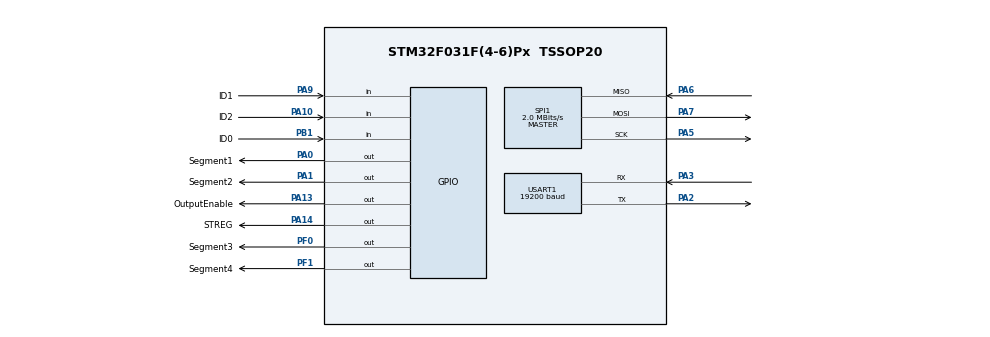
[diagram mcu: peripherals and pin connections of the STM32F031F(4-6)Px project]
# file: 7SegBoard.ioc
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Mcu.Family=STM32F0
Mcu.Name=STM32F031F(4-6)Px
Mcu.Package=TSSOP20
NVIC.TIM14_IRQn=true\:0\:0\:false\:false\:true
PA0.GPIO_Label=Segment1
PA0.Signal=GPIO_Output
PA1.GPIO_Label=Segment2
PA1.Signal=GPIO_Output
PA10.GPIO_Label=ID2
PA10.GPIO_PuPd=GPIO_PULLUP
PA10.Signal=GPIO_Input
PA13.GPIO_Label=OutputEnable
PA13.Signal=GPIO_Output
PA14.GPIO_Label=STREG
PA14.Signal=GPIO_Output
PA2.Mode=Asynchronous
PA2.Signal=USART1_TX
PA3.Mode=Asynchronous
PA3.Signal=USART1_RX
PA5.Mode=Full_Duplex_Master
PA5.Signal=SPI1_SCK
PA6.Mode=Full_Duplex_Master
PA6.Signal=SPI1_MISO
PA7.Mode=Full_Duplex_Master
PA7.Signal=SPI1_MOSI
PA9.GPIO_Label=ID1
PA9.GPIO_PuPd=GPIO_PULLUP
PA9.Signal=GPIO_Input
PB1.GPIO_Label=ID0
PB1.GPIO_PuPd=GPIO_PULLUP
PB1.Signal=GPIO_Input
PF0-OSC_IN.GPIO_Label=Segment3
PF0-OSC_IN.Signal=GPIO_Output
PF1-OSC_OUT.GPIO_Label=Segment4
PF1-OSC_OUT.Signal=GPIO_Output
ProjectManager.HeapSize=0x200
ProjectManager.StackSize=0x400
ProjectManager.TargetToolchain=SW4STM32
SPI1.BaudRatePrescaler=SPI_BAUDRATEPRESCALER_4
SPI1.CalculateBaudRate=2.0 MBits/s
SPI1.DataSize=SPI_DATASIZE_8BIT
SPI1.Direction=SPI_DIRECTION_2LINES
SPI1.Mode=SPI_MODE_MASTER
SPI1.VirtualType=VM_MASTER
TIM14.Period=1000
TIM14.Prescaler=8
USART1.BaudRate=19200
USART1.VirtualMode-Asynchronous=VM_ASYNC
VP_TIM14_VS_ClockSourceINT.Mode=Enable_Timer
board=7SegBoard

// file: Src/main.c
/**
  ******************************************************************************
  * File Name          : main.c
  * Description        : Main program body
  ******************************************************************************
  ** This notice applies to any and all portions of this file
  * that are not between comment pairs USER CODE BEGIN and
  * USER CODE END. Other portions of this file, whether
  * inserted by the user or by software development tools
  * are owned by their respective copyright owners.
  *
  * COPYRIGHT(c) 2017 STMicroelectronics
  *
  * Redistribution and use in source and binary forms, with or without modification,
  * are permitted provided that the following conditions are met:
  *   1. Redistributions of source code must retain the above copyright notice,
  *      this list of conditions and the following disclaimer.
  *   2. Redistributions in binary form must reproduce the above copyright notice,
  *      this list of conditions and the following disclaimer in the documentation
  *      and/or other materials provided with the distribution.
  *   3. Neither the name of STMicroelectronics nor the names of its contributors
  *      may be used to endorse or promote products derived from this software
  *      without specific prior written permission.
  *
  * THIS SOFTWARE IS PROVIDED BY THE COPYRIGHT HOLDERS AND CONTRIBUTORS "AS IS"
  * AND ANY EXPRESS OR IMPLIED WARRANTIES, INCLUDING, BUT NOT LIMITED TO, THE
  * IMPLIED WARRANTIES OF MERCHANTABILITY AND FITNESS FOR A PARTICULAR PURPOSE ARE
  * DISCLAIMED. IN NO EVENT SHALL THE COPYRIGHT HOLDER OR CONTRIBUTORS BE LIABLE
  * FOR ANY DIRECT, INDIRECT, INCIDENTAL, SPECIAL, EXEMPLARY, OR CONSEQUENTIAL
  * DAMAGES (INCLUDING, BUT NOT LIMITED TO, PROCUREMENT OF SUBSTITUTE GOODS OR
  * SERVICES; LOSS OF USE, DATA, OR PROFITS; OR BUSINESS INTERRUPTION) HOWEVER
  * CAUSED AND ON ANY THEORY OF LIABILITY, WHETHER IN CONTRACT, STRICT LIABILITY,
  * OR TORT (INCLUDING NEGLIGENCE OR OTHERWISE) ARISING IN ANY WAY OUT OF THE USE
  * OF THIS SOFTWARE, EVEN IF ADVISED OF THE POSSIBILITY OF SUCH DAMAGE.
  *
  ******************************************************************************
  */
#include "main.h"
#include "stm32f0xx_hal.h"

/* USER CODE BEGIN Includes */
#include "7Segment.h"
/* USER CODE END Includes */

SPI_HandleTypeDef hspi1;

TIM_HandleTypeDef htim14;

UART_HandleTypeDef huart1;

/* USER CODE BEGIN PV */
/* Private variables ---------------------------------------------------------*/

/* USER CODE END PV */

void SystemClock_Config(void);
static void MX_GPIO_Init(void);
static void MX_SPI1_Init(void);
static void MX_USART1_UART_Init(void);
static void MX_TIM14_Init(void);

/* USER CODE BEGIN PFP */
/* Private function prototypes -----------------------------------------------*/
/* USER CODE END PFP */

int main(void)
{

  /* MCU Configuration----------------------------------------------------------*/

  /* Reset of all peripherals, Initializes the Flash interface and the Systick. */
  HAL_Init();

  /* Configure the system clock */
  SystemClock_Config();

  /* Initialize all configured peripherals */
  MX_GPIO_Init();
  MX_SPI1_Init();
  MX_USART1_UART_Init();
  MX_TIM14_Init();

  /* USER CODE BEGIN 2 */
	HAL_GPIO_WritePin(GPIOA, OutputEnable_Pin, GPIO_PIN_RESET);
	HAL_TIM_Base_Start_IT(&htim14);

	uint8_t data[1];
	uint8_t message[5];
	uint8_t id = 0;
	uint8_t idReceived = 0;
	uint8_t charCounter = 0;
	uint8_t ID = 0;
	ID = (HAL_GPIO_ReadPin(ID2_GPIO_Port, ID2_Pin)<<2) + (HAL_GPIO_ReadPin(ID1_GPIO_Port, ID1_Pin)<<1) + HAL_GPIO_ReadPin(ID0_GPIO_Port, ID0_Pin);

  /* USER CODE END 2 */

  /* Infinite loop */
	while (1)
	{

  /* USER CODE BEGIN 3 */
		if(HAL_OK == HAL_UART_Receive(&huart1, data, 1, 100))
		{
			if(data[0] != '\n')
			{
				if(idReceived == 0)
				{
					if(data[0] != ',')
					{
						if(charCounter == 1)
						{
							id += data[0]-48;
						}
						else if(charCounter == 0)
						{
							id += (data[0]-48) * 10;
						}
					}
					else
					{
						idReceived = 1;
						charCounter = 0-1;
					}
				}
				else
				{
					message[charCounter] = data[0];
				}
				charCounter++;
			}
			else
			{
				if(id == ID)
				{
					SetDisplay(message, charCounter+1);
				}
				charCounter = 0;
				id = 0;
				idReceived = 0;
			}
		}
	}

  /* USER CODE END 3 */

}

/** System Clock Configuration
*/
void SystemClock_Config(void)
{

  RCC_OscInitTypeDef RCC_OscInitStruct;
  RCC_ClkInitTypeDef RCC_ClkInitStruct;
  RCC_PeriphCLKInitTypeDef PeriphClkInit;

    /**Initializes the CPU, AHB and APB busses clocks
    */
  RCC_OscInitStruct.OscillatorType = RCC_OSCILLATORTYPE_HSI;
  RCC_OscInitStruct.HSIState = RCC_HSI_ON;
  RCC_OscInitStruct.HSICalibrationValue = 16;
  RCC_OscInitStruct.PLL.PLLState = RCC_PLL_NONE;
  if (HAL_RCC_OscConfig(&RCC_OscInitStruct) != HAL_OK)
  {
    _Error_Handler(__FILE__, __LINE__);
  }

    /**Initializes the CPU, AHB and APB busses clocks
    */
  RCC_ClkInitStruct.ClockType = RCC_CLOCKTYPE_HCLK|RCC_CLOCKTYPE_SYSCLK
                              |RCC_CLOCKTYPE_PCLK1;
  RCC_ClkInitStruct.SYSCLKSource = RCC_SYSCLKSOURCE_HSI;
  RCC_ClkInitStruct.AHBCLKDivider = RCC_SYSCLK_DIV1;
  RCC_ClkInitStruct.APB1CLKDivider = RCC_HCLK_DIV1;

  if (HAL_RCC_ClockConfig(&RCC_ClkInitStruct, FLASH_LATENCY_0) != HAL_OK)
  {
    _Error_Handler(__FILE__, __LINE__);
  }

  PeriphClkInit.PeriphClockSelection = RCC_PERIPHCLK_USART1;
  PeriphClkInit.Usart1ClockSelection = RCC_USART1CLKSOURCE_PCLK1;
  if (HAL_RCCEx_PeriphCLKConfig(&PeriphClkInit) != HAL_OK)
  {
    _Error_Handler(__FILE__, __LINE__);
  }

    /**Configure the Systick interrupt time
    */
  HAL_SYSTICK_Config(HAL_RCC_GetHCLKFreq()/1000);

    /**Configure the Systick
    */
  HAL_SYSTICK_CLKSourceConfig(SYSTICK_CLKSOURCE_HCLK);

  /* SysTick_IRQn interrupt configuration */
  HAL_NVIC_SetPriority(SysTick_IRQn, 0, 0);
}

/* SPI1 init function */
static void MX_SPI1_Init(void)
{

  hspi1.Instance = SPI1;
  hspi1.Init.Mode = SPI_MODE_MASTER;
  hspi1.Init.Direction = SPI_DIRECTION_2LINES;
  hspi1.Init.DataSize = SPI_DATASIZE_8BIT;
  hspi1.Init.CLKPolarity = SPI_POLARITY_LOW;
  hspi1.Init.CLKPhase = SPI_PHASE_1EDGE;
  hspi1.Init.NSS = SPI_NSS_SOFT;
  hspi1.Init.BaudRatePrescaler = SPI_BAUDRATEPRESCALER_4;
  hspi1.Init.FirstBit = SPI_FIRSTBIT_MSB;
  hspi1.Init.TIMode = SPI_TIMODE_DISABLE;
  hspi1.Init.CRCCalculation = SPI_CRCCALCULATION_DISABLE;
  hspi1.Init.CRCPolynomial = 7;
  hspi1.Init.CRCLength = SPI_CRC_LENGTH_DATASIZE;
  hspi1.Init.NSSPMode = SPI_NSS_PULSE_ENABLE;
  if (HAL_SPI_Init(&hspi1) != HAL_OK)
  {
    _Error_Handler(__FILE__, __LINE__);
  }

}

/* TIM14 init function */
static void MX_TIM14_Init(void)
{

  htim14.Instance = TIM14;
  htim14.Init.Prescaler = 8;
  htim14.Init.CounterMode = TIM_COUNTERMODE_UP;
  htim14.Init.Period = 1000;
  htim14.Init.ClockDivision = TIM_CLOCKDIVISION_DIV1;
  htim14.Init.AutoReloadPreload = TIM_AUTORELOAD_PRELOAD_DISABLE;
  if (HAL_TIM_Base_Init(&htim14) != HAL_OK)
  {
    _Error_Handler(__FILE__, __LINE__);
  }

}

/* USART1 init function */
static void MX_USART1_UART_Init(void)
{

  huart1.Instance = USART1;
  huart1.Init.BaudRate = 19200;
  huart1.Init.WordLength = UART_WORDLENGTH_8B;
  huart1.Init.StopBits = UART_STOPBITS_1;
  huart1.Init.Parity = UART_PARITY_NONE;
  huart1.Init.Mode = UART_MODE_TX_RX;
  huart1.Init.HwFlowCtl = UART_HWCONTROL_NONE;
  huart1.Init.OverSampling = UART_OVERSAMPLING_16;
  huart1.Init.OneBitSampling = UART_ONE_BIT_SAMPLE_DISABLE;
  huart1.AdvancedInit.AdvFeatureInit = UART_ADVFEATURE_NO_INIT;
  if (HAL_UART_Init(&huart1) != HAL_OK)
  {
    _Error_Handler(__FILE__, __LINE__);
  }

}

/** Configure pins as
        * Analog
        * Input
        * Output
        * EVENT_OUT
        * EXTI
*/
static void MX_GPIO_Init(void)
{

  GPIO_InitTypeDef GPIO_InitStruct;

  /* GPIO Ports Clock Enable */
  __HAL_RCC_GPIOF_CLK_ENABLE();
  __HAL_RCC_GPIOA_CLK_ENABLE();
  __HAL_RCC_GPIOB_CLK_ENABLE();

  /*Configure GPIO pin Output Level */
  HAL_GPIO_WritePin(GPIOF, Segment3_Pin|Segment4_Pin, GPIO_PIN_RESET);

  /*Configure GPIO pin Output Level */
  HAL_GPIO_WritePin(GPIOA, Segment1_Pin|Segment2_Pin|OutputEnable_Pin|STREG_Pin, GPIO_PIN_RESET);

  /*Configure GPIO pins : Segment3_Pin Segment4_Pin */
  GPIO_InitStruct.Pin = Segment3_Pin|Segment4_Pin;
  GPIO_InitStruct.Mode = GPIO_MODE_OUTPUT_PP;
  GPIO_InitStruct.Pull = GPIO_NOPULL;
  GPIO_InitStruct.Speed = GPIO_SPEED_FREQ_LOW;
  HAL_GPIO_Init(GPIOF, &GPIO_InitStruct);

  /*Configure GPIO pins : Segment1_Pin Segment2_Pin OutputEnable_Pin STREG_Pin */
  GPIO_InitStruct.Pin = Segment1_Pin|Segment2_Pin|OutputEnable_Pin|STREG_Pin;
  GPIO_InitStruct.Mode = GPIO_MODE_OUTPUT_PP;
  GPIO_InitStruct.Pull = GPIO_NOPULL;
  GPIO_InitStruct.Speed = GPIO_SPEED_FREQ_LOW;
  HAL_GPIO_Init(GPIOA, &GPIO_InitStruct);

  /*Configure GPIO pin : ID0_Pin */
  GPIO_InitStruct.Pin = ID0_Pin;
  GPIO_InitStruct.Mode = GPIO_MODE_INPUT;
  GPIO_InitStruct.Pull = GPIO_PULLUP;
  HAL_GPIO_Init(ID0_GPIO_Port, &GPIO_InitStruct);

  /*Configure GPIO pins : ID1_Pin ID2_Pin */
  GPIO_InitStruct.Pin = ID1_Pin|ID2_Pin;
  GPIO_InitStruct.Mode = GPIO_MODE_INPUT;
  GPIO_InitStruct.Pull = GPIO_PULLUP;
  HAL_GPIO_Init(GPIOA, &GPIO_InitStruct);

}

void _Error_Handler(char * file, int line)
{
	while(1)
	{
	}
}

/************************ (C) COPYRIGHT STMicroelectronics *****END OF FILE****/
